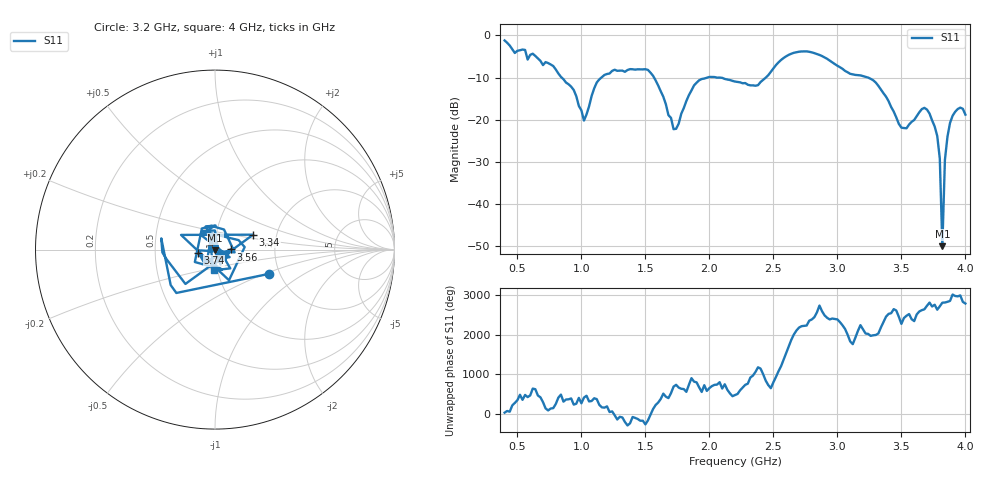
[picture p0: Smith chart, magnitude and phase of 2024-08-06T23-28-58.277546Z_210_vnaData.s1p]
!Created with skrf (http://scikit-rf.org).
# Hz S RI R 50.0
!freq ReS11 ImS11
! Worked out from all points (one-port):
!   181 points, 400 MHz to 4 GHz, reference 50 ohm
!   lowest |S11| = -50.0 dB at 3.82 GHz (marker M1), VSWR 1.01, Z = 50.1 - j0.303 ohm
!   |S11| at or under -10 dB: 1.568 GHz to 1.983 GHz (415.7 MHz wide, 23.4 % of centre); 2.058 GHz to 2.441 GHz (382.9 MHz wide, 17 % of centre); 3.24 GHz to end of sweep (the widest 3 of 4)
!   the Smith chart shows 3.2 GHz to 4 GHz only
!   S11 on the Smith chart (normalised r, x): 3.2 GHz: 1.76, -0.53; 3.34 GHz: 1.51, +0.27; 3.56 GHz: 1.19, +0.00; 3.74 GHz: 0.82, -0.03; 4 GHz: 0.96, -0.22
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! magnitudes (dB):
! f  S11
! 400 MHz  -1.2
! 860 MHz  -10.4
! 940 MHz  -12.9
! 1.02 GHz  -20.2
! 1.12 GHz  -11.2
! 1.3 GHz  -8.4
! 1.52 GHz  -8.2
! 1.64 GHz  -14.5
! 1.72 GHz  -22.2
! 1.76 GHz  -20.9
! 1.92 GHz  -10.6
! 2.2 GHz  -10.9
! 2.38 GHz  -11.8
! 2.66 GHz  -4.1
! 3.1 GHz  -9.1
! 3.2 GHz  -9.6
! 3.34 GHz  -12.8
! 3.5 GHz  -21.9
! 3.56 GHz  -21.1
! 3.68 GHz  -17.2
! 3.74 GHz  -20.2
! 3.78 GHz  -23.8
! 3.8 GHz  -29.2
! 3.82 GHz  -50.0
! 3.84 GHz  -29.5
! 3.86 GHz  -24.0
! 3.92 GHz  -18.1
! 4 GHz  -18.8
